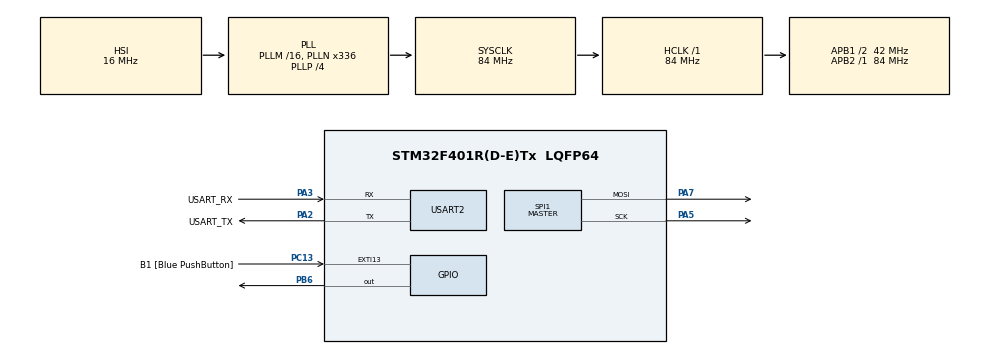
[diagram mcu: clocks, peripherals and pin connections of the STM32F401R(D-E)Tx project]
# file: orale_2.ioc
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Dma.Request0=SPI1_TX
Dma.SPI1_TX.0.Direction=DMA_MEMORY_TO_PERIPH
Dma.SPI1_TX.0.FIFOMode=DMA_FIFOMODE_DISABLE
Dma.SPI1_TX.0.Instance=DMA2_Stream3
Dma.SPI1_TX.0.MemDataAlignment=DMA_MDATAALIGN_BYTE
Dma.SPI1_TX.0.MemInc=DMA_MINC_ENABLE
Dma.SPI1_TX.0.Mode=DMA_NORMAL
Dma.SPI1_TX.0.PeriphDataAlignment=DMA_PDATAALIGN_BYTE
Dma.SPI1_TX.0.PeriphInc=DMA_PINC_DISABLE
Dma.SPI1_TX.0.Priority=DMA_PRIORITY_LOW
Mcu.Family=STM32F4
Mcu.Name=STM32F401R(D-E)Tx
Mcu.Package=LQFP64
NVIC.DMA2_Stream3_IRQn=true\:0\:0\:false\:false\:true\:false\:true\:true
NVIC.PriorityGroup=NVIC_PRIORITYGROUP_0
NVIC.SPI1_IRQn=true\:0\:0\:false\:false\:true\:true\:true\:true
NVIC.TIM1_UP_TIM10_IRQn=true\:0\:0\:false\:false\:true\:true\:true\:true
NVIC.TIM2_IRQn=true\:0\:0\:false\:false\:true\:true\:true\:true
NVIC.TIM3_IRQn=true\:0\:0\:false\:false\:true\:true\:true\:true
PA13.GPIO_Label=TMS
PA13.Mode=Serial_Wire
PA13.Signal=SYS_JTMS-SWDIO
PA14.GPIO_Label=TCK
PA14.Mode=Serial_Wire
PA14.Signal=SYS_JTCK-SWCLK
PA2.GPIO_Label=USART_TX
PA2.GPIO_Mode=GPIO_MODE_AF_PP
PA2.GPIO_PuPd=GPIO_NOPULL
PA2.GPIO_Speed=GPIO_SPEED_FREQ_LOW
PA2.Mode=Asynchronous
PA2.Signal=USART2_TX
PA3.GPIO_Label=USART_RX
PA3.GPIO_Mode=GPIO_MODE_AF_PP
PA3.GPIO_PuPd=GPIO_NOPULL
PA3.GPIO_Speed=GPIO_SPEED_FREQ_LOW
PA3.Mode=Asynchronous
PA3.Signal=USART2_RX
PA4.Signal=SPI1_NSS
PA5.Mode=TX_Only_Simplex_Unidirect_Master
PA5.Signal=SPI1_SCK
PA6.Signal=SPI1_MISO
PA7.Mode=TX_Only_Simplex_Unidirect_Master
PA7.Signal=SPI1_MOSI
PB3.GPIO_Label=SWO
PB3.Signal=SYS_JTDO-SWO
PB6.Signal=GPIO_Output
PC13-ANTI_TAMP.GPIO_Label=B1 [Blue PushButton]
PC13-ANTI_TAMP.GPIO_ModeDefaultEXTI=GPIO_MODE_IT_FALLING
PC13-ANTI_TAMP.GPIO_PuPd=GPIO_NOPULL
PC13-ANTI_TAMP.Signal=GPXTI13
PC14-OSC32_IN.Mode=LSE-External-Oscillator
PC14-OSC32_IN.Signal=RCC_OSC32_IN
PC15-OSC32_OUT.Mode=LSE-External-Oscillator
PC15-OSC32_OUT.Signal=RCC_OSC32_OUT
PH0\ -\ OSC_IN.Mode=HSE-External-Clock-Source
PH0\ -\ OSC_IN.Signal=RCC_OSC_IN
PH1\ -\ OSC_OUT.Mode=HSE-External-Clock-Source
PH1\ -\ OSC_OUT.Signal=RCC_OSC_OUT
ProjectManager.HeapSize=0x200
ProjectManager.StackSize=0x400
ProjectManager.TargetToolchain=STM32CubeIDE
RCC.48MHZClocksFreq_Value=48000000
RCC.AHBFreq_Value=84000000
RCC.APB1CLKDivider=RCC_HCLK_DIV2
RCC.APB1Freq_Value=42000000
RCC.APB1TimFreq_Value=84000000
RCC.APB2Freq_Value=84000000
RCC.APB2TimFreq_Value=84000000
RCC.CortexFreq_Value=84000000
RCC.HCLKFreq_Value=84000000
RCC.HSE_VALUE=8000000
RCC.HSI_VALUE=16000000
RCC.PLLN=336
RCC.PLLP=RCC_PLLP_DIV4
RCC.PLLQ=7
RCC.SYSCLKFreq_VALUE=84000000
RCC.SYSCLKSource=RCC_SYSCLKSOURCE_PLLCLK
RCC.VCOOutputFreq_Value=336000000
SPI1.BaudRatePrescaler=SPI_BAUDRATEPRESCALER_4
SPI1.Direction=SPI_DIRECTION_2LINES
SPI1.Mode=SPI_MODE_MASTER
SPI1.VirtualType=VM_MASTER
TIM1.Period=1000-1
TIM1.Prescaler=8400-1
TIM2.Period=40
TIM2.Prescaler=8400
TIM3.Period=10000
TIM3.Prescaler=8400
USART2.VirtualMode=VM_ASYNC
VP_TIM1_VS_ClockSourceINT.Mode=Internal
VP_TIM2_VS_ClockSourceINT.Mode=Internal
VP_TIM3_VS_ClockSourceINT.Mode=Internal
board=NUCLEO-F401RE

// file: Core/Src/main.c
/* USER CODE BEGIN Header */
/**
 ******************************************************************************
 * @file           : main.c
 * @brief          : Main program body
 ******************************************************************************
 * @attention
 *
 * Copyright (c) 2023 STMicroelectronics.
 * All rights reserved.
 *
 * This software is licensed under terms that can be found in the LICENSE file
 * in the root directory of this software component.
 * If no LICENSE file comes with this software, it is provided AS-IS.
 *
 ******************************************************************************
 */
/* USER CODE END Header */
#include "main.h"

SPI_HandleTypeDef hspi1;
DMA_HandleTypeDef hdma_spi1_tx;

TIM_HandleTypeDef htim1;
TIM_HandleTypeDef htim2;
TIM_HandleTypeDef htim3;

UART_HandleTypeDef huart2;

void SystemClock_Config(void);
static void MX_GPIO_Init(void);
static void MX_DMA_Init(void);
static void MX_USART2_UART_Init(void);
static void MX_SPI1_Init(void);
static void MX_TIM2_Init(void);
static void MX_TIM3_Init(void);
static void MX_TIM1_Init(void);

/* USER CODE BEGIN 0 */
void HAL_TIM_PeriodElapsedCallback(TIM_HandleTypeDef *htim) {
#define N_CHARS 3
	static uint8_t data[N_CHARS][5][2] = {
			//I
			{{0, 16},
			{ 65, 8 },
			{ 127, 4 },
			{ 65, 2 },
			{ 0, 1 }},
			//<3
			{{ 28, 16 },
			{ 34, 8 },
			{ 17, 4 },
			{ 34, 2 },
			{ 28, 1 }},
			//U
			{{126, 16 },
			{ 1, 8 },
			{ 1, 4 },
			{ 1, 2 },
			{ 126, 1 }}

	};

	static int letter = 0;

	if(htim == &htim3){
		letter = (letter+1) % N_CHARS;
	}
	if (htim == &htim2) {
		static int idx = 0;
		HAL_SPI_Transmit_DMA(&hspi1, data[letter][idx], 2);
		idx = (idx + 1) % 5;
	}
}

void HAL_SPI_TxCpltCallback (SPI_HandleTypeDef * hspi){
	HAL_GPIO_TogglePin(GPIOB, GPIO_PIN_6);
	HAL_GPIO_TogglePin(GPIOB, GPIO_PIN_6);
}
/* USER CODE END 0 */

int main(void)
{

  /* MCU Configuration--------------------------------------------------------*/

  /* Reset of all peripherals, Initializes the Flash interface and the Systick. */
  HAL_Init();

  /* Configure the system clock */
  SystemClock_Config();

  /* Initialize all configured peripherals */
  MX_GPIO_Init();
  MX_DMA_Init();
  MX_USART2_UART_Init();
  MX_SPI1_Init();
  MX_TIM2_Init();
  MX_TIM3_Init();
  MX_TIM1_Init();
  /* USER CODE BEGIN 2 */
	HAL_TIM_Base_Start_IT(&htim2);
	HAL_TIM_Base_Start_IT(&htim3);
  /* USER CODE END 2 */

  /* Infinite loop */
	while (1) {

	}
}

void SystemClock_Config(void)
{
  RCC_OscInitTypeDef RCC_OscInitStruct = {0};
  RCC_ClkInitTypeDef RCC_ClkInitStruct = {0};

  /** Configure the main internal regulator output voltage
  */
  __HAL_RCC_PWR_CLK_ENABLE();
  __HAL_PWR_VOLTAGESCALING_CONFIG(PWR_REGULATOR_VOLTAGE_SCALE2);

  /** Initializes the RCC Oscillators according to the specified parameters
  * in the RCC_OscInitTypeDef structure.
  */
  RCC_OscInitStruct.OscillatorType = RCC_OSCILLATORTYPE_HSI;
  RCC_OscInitStruct.HSIState = RCC_HSI_ON;
  RCC_OscInitStruct.HSICalibrationValue = RCC_HSICALIBRATION_DEFAULT;
  RCC_OscInitStruct.PLL.PLLState = RCC_PLL_ON;
  RCC_OscInitStruct.PLL.PLLSource = RCC_PLLSOURCE_HSI;
  RCC_OscInitStruct.PLL.PLLM = 16;
  RCC_OscInitStruct.PLL.PLLN = 336;
  RCC_OscInitStruct.PLL.PLLP = RCC_PLLP_DIV4;
  RCC_OscInitStruct.PLL.PLLQ = 7;
  if (HAL_RCC_OscConfig(&RCC_OscInitStruct) != HAL_OK)
  {
    Error_Handler();
  }

  /** Initializes the CPU, AHB and APB buses clocks
  */
  RCC_ClkInitStruct.ClockType = RCC_CLOCKTYPE_HCLK|RCC_CLOCKTYPE_SYSCLK
                              |RCC_CLOCKTYPE_PCLK1|RCC_CLOCKTYPE_PCLK2;
  RCC_ClkInitStruct.SYSCLKSource = RCC_SYSCLKSOURCE_PLLCLK;
  RCC_ClkInitStruct.AHBCLKDivider = RCC_SYSCLK_DIV1;
  RCC_ClkInitStruct.APB1CLKDivider = RCC_HCLK_DIV2;
  RCC_ClkInitStruct.APB2CLKDivider = RCC_HCLK_DIV1;

  if (HAL_RCC_ClockConfig(&RCC_ClkInitStruct, FLASH_LATENCY_2) != HAL_OK)
  {
    Error_Handler();
  }
}

static void MX_SPI1_Init(void)
{

  /* SPI1 parameter configuration*/
  hspi1.Instance = SPI1;
  hspi1.Init.Mode = SPI_MODE_MASTER;
  hspi1.Init.Direction = SPI_DIRECTION_2LINES;
  hspi1.Init.DataSize = SPI_DATASIZE_8BIT;
  hspi1.Init.CLKPolarity = SPI_POLARITY_LOW;
  hspi1.Init.CLKPhase = SPI_PHASE_1EDGE;
  hspi1.Init.NSS = SPI_NSS_SOFT;
  hspi1.Init.BaudRatePrescaler = SPI_BAUDRATEPRESCALER_4;
  hspi1.Init.FirstBit = SPI_FIRSTBIT_MSB;
  hspi1.Init.TIMode = SPI_TIMODE_DISABLE;
  hspi1.Init.CRCCalculation = SPI_CRCCALCULATION_DISABLE;
  hspi1.Init.CRCPolynomial = 10;
  if (HAL_SPI_Init(&hspi1) != HAL_OK)
  {
    Error_Handler();
  }

}

static void MX_TIM1_Init(void)
{

  TIM_ClockConfigTypeDef sClockSourceConfig = {0};
  TIM_MasterConfigTypeDef sMasterConfig = {0};

  htim1.Instance = TIM1;
  htim1.Init.Prescaler = 8400-1;
  htim1.Init.CounterMode = TIM_COUNTERMODE_UP;
  htim1.Init.Period = 1000-1;
  htim1.Init.ClockDivision = TIM_CLOCKDIVISION_DIV1;
  htim1.Init.RepetitionCounter = 0;
  htim1.Init.AutoReloadPreload = TIM_AUTORELOAD_PRELOAD_DISABLE;
  if (HAL_TIM_Base_Init(&htim1) != HAL_OK)
  {
    Error_Handler();
  }
  sClockSourceConfig.ClockSource = TIM_CLOCKSOURCE_INTERNAL;
  if (HAL_TIM_ConfigClockSource(&htim1, &sClockSourceConfig) != HAL_OK)
  {
    Error_Handler();
  }
  sMasterConfig.MasterOutputTrigger = TIM_TRGO_RESET;
  sMasterConfig.MasterSlaveMode = TIM_MASTERSLAVEMODE_DISABLE;
  if (HAL_TIMEx_MasterConfigSynchronization(&htim1, &sMasterConfig) != HAL_OK)
  {
    Error_Handler();
  }

}

static void MX_TIM2_Init(void)
{

  TIM_ClockConfigTypeDef sClockSourceConfig = {0};
  TIM_MasterConfigTypeDef sMasterConfig = {0};

  htim2.Instance = TIM2;
  htim2.Init.Prescaler = 8400;
  htim2.Init.CounterMode = TIM_COUNTERMODE_UP;
  htim2.Init.Period = 40;
  htim2.Init.ClockDivision = TIM_CLOCKDIVISION_DIV1;
  htim2.Init.AutoReloadPreload = TIM_AUTORELOAD_PRELOAD_DISABLE;
  if (HAL_TIM_Base_Init(&htim2) != HAL_OK)
  {
    Error_Handler();
  }
  sClockSourceConfig.ClockSource = TIM_CLOCKSOURCE_INTERNAL;
  if (HAL_TIM_ConfigClockSource(&htim2, &sClockSourceConfig) != HAL_OK)
  {
    Error_Handler();
  }
  sMasterConfig.MasterOutputTrigger = TIM_TRGO_RESET;
  sMasterConfig.MasterSlaveMode = TIM_MASTERSLAVEMODE_DISABLE;
  if (HAL_TIMEx_MasterConfigSynchronization(&htim2, &sMasterConfig) != HAL_OK)
  {
    Error_Handler();
  }

}

static void MX_TIM3_Init(void)
{

  TIM_ClockConfigTypeDef sClockSourceConfig = {0};
  TIM_MasterConfigTypeDef sMasterConfig = {0};

  htim3.Instance = TIM3;
  htim3.Init.Prescaler = 8400;
  htim3.Init.CounterMode = TIM_COUNTERMODE_UP;
  htim3.Init.Period = 10000;
  htim3.Init.ClockDivision = TIM_CLOCKDIVISION_DIV1;
  htim3.Init.AutoReloadPreload = TIM_AUTORELOAD_PRELOAD_DISABLE;
  if (HAL_TIM_Base_Init(&htim3) != HAL_OK)
  {
    Error_Handler();
  }
  sClockSourceConfig.ClockSource = TIM_CLOCKSOURCE_INTERNAL;
  if (HAL_TIM_ConfigClockSource(&htim3, &sClockSourceConfig) != HAL_OK)
  {
    Error_Handler();
  }
  sMasterConfig.MasterOutputTrigger = TIM_TRGO_RESET;
  sMasterConfig.MasterSlaveMode = TIM_MASTERSLAVEMODE_DISABLE;
  if (HAL_TIMEx_MasterConfigSynchronization(&htim3, &sMasterConfig) != HAL_OK)
  {
    Error_Handler();
  }

}

static void MX_USART2_UART_Init(void)
{

  huart2.Instance = USART2;
  huart2.Init.BaudRate = 115200;
  huart2.Init.WordLength = UART_WORDLENGTH_8B;
  huart2.Init.StopBits = UART_STOPBITS_1;
  huart2.Init.Parity = UART_PARITY_NONE;
  huart2.Init.Mode = UART_MODE_TX_RX;
  huart2.Init.HwFlowCtl = UART_HWCONTROL_NONE;
  huart2.Init.OverSampling = UART_OVERSAMPLING_16;
  if (HAL_UART_Init(&huart2) != HAL_OK)
  {
    Error_Handler();
  }

}

static void MX_DMA_Init(void)
{

  /* DMA controller clock enable */
  __HAL_RCC_DMA2_CLK_ENABLE();

  /* DMA interrupt init */
  /* DMA2_Stream3_IRQn interrupt configuration */
  HAL_NVIC_SetPriority(DMA2_Stream3_IRQn, 0, 0);
  HAL_NVIC_EnableIRQ(DMA2_Stream3_IRQn);

}

static void MX_GPIO_Init(void)
{
  GPIO_InitTypeDef GPIO_InitStruct = {0};

  /* GPIO Ports Clock Enable */
  __HAL_RCC_GPIOC_CLK_ENABLE();
  __HAL_RCC_GPIOH_CLK_ENABLE();
  __HAL_RCC_GPIOA_CLK_ENABLE();
  __HAL_RCC_GPIOB_CLK_ENABLE();

  /*Configure GPIO pin Output Level */
  HAL_GPIO_WritePin(GPIOB, GPIO_PIN_6, GPIO_PIN_RESET);

  /*Configure GPIO pin : B1_Pin */
  GPIO_InitStruct.Pin = B1_Pin;
  GPIO_InitStruct.Mode = GPIO_MODE_IT_FALLING;
  GPIO_InitStruct.Pull = GPIO_NOPULL;
  HAL_GPIO_Init(B1_GPIO_Port, &GPIO_InitStruct);

  /*Configure GPIO pin : PB6 */
  GPIO_InitStruct.Pin = GPIO_PIN_6;
  GPIO_InitStruct.Mode = GPIO_MODE_OUTPUT_PP;
  GPIO_InitStruct.Pull = GPIO_NOPULL;
  GPIO_InitStruct.Speed = GPIO_SPEED_FREQ_LOW;
  HAL_GPIO_Init(GPIOB, &GPIO_InitStruct);

}

void Error_Handler(void)
{
	__disable_irq();
	while (1) {
	}
}
